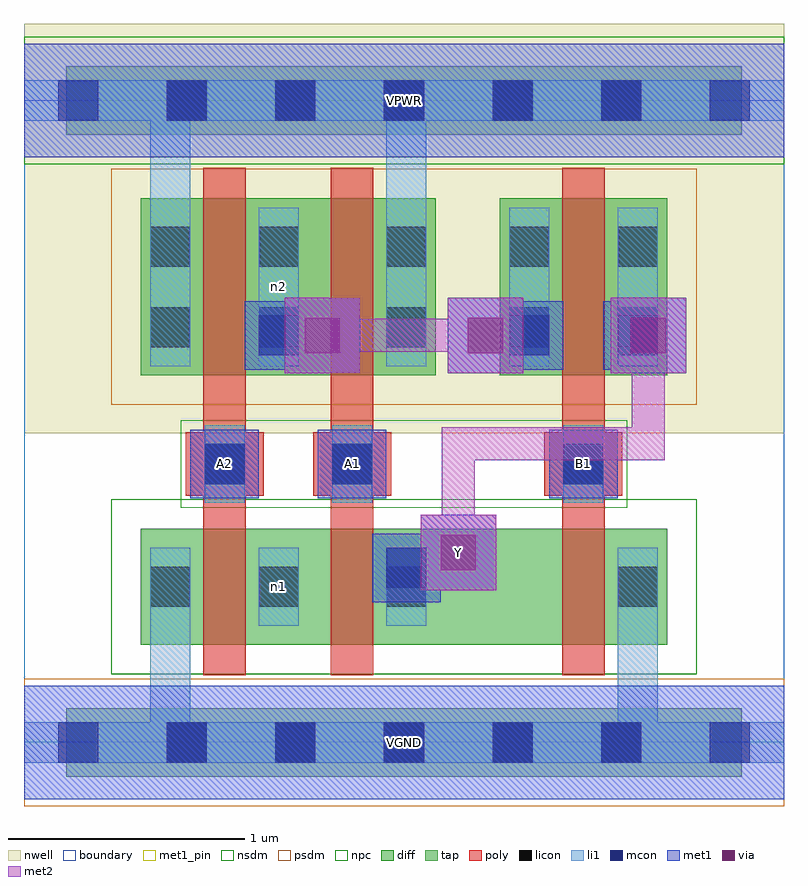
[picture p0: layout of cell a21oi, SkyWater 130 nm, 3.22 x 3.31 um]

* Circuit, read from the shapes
.subckt a21oi A1 A2 B1 VGND VPWR Y n1 n2
XM1 n1 A2 VGND VGND sky130_fd_pr__nfet_01v8 w=0.49 l=0.18
XM2 Y A1 n1 VGND sky130_fd_pr__nfet_01v8 w=0.49 l=0.18
XM3 VGND B1 Y VGND sky130_fd_pr__nfet_01v8 w=0.49 l=0.18
XM4 n2 A2 VPWR VPWR sky130_fd_pr__pfet_01v8 w=0.75 l=0.18
XM5 VPWR A1 n2 VPWR sky130_fd_pr__pfet_01v8 w=0.75 l=0.18
XM6 Y B1 n2 VPWR sky130_fd_pr__pfet_01v8 w=0.75 l=0.18
.ends

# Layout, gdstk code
import gdstk
lib = gdstk.Library(unit=1e-6, precision=1e-09)
def R(c, l, rs):  # rectangles x0, y0, x1, y1
    for r in rs: c.add(gdstk.rectangle(r[:2], r[2:], *l))
def A(c, l, x, y, w, h, nx, ny, dx, dy):  # array of equal rectangles
    R(c, l, [(x+i*dx, y+j*dy, x+i*dx+w, y+j*dy+h) for i in range(nx) for j in range(ny)])
nwell = (64, 20)
diff = (65, 20)
tap = (65, 44)
poly = (66, 20)
licon = (66, 44)
li1 = (67, 20)
mcon = (67, 44)
met1_pin = (68, 16)
met1 = (68, 20)
via = (68, 44)
met2 = (69, 20)
nsdm = (93, 44)
psdm = (94, 20)
npc = (95, 20)
boundary = (235, 4)

a21oi = lib.new_cell('a21oi')
R(a21oi, nwell, [(0,1.31,3.22,3.045)])
R(a21oi, diff, [(0.495,0.415,2.725,0.905), (0.495,1.555,1.745,2.305), (2.015,1.555,2.725,2.305)])
R(a21oi, tap, [(0.18,-0.145,3.04,0.145), (0.18,2.575,3.04,2.865)])
R(a21oi, poly, [(0.76,0.285,0.94,2.435), (1.3,0.285,1.48,2.435), (2.28,0.285,2.46,2.435), (0.685,1.045,1.015,1.315), (1.225,1.045,1.555,1.315), (2.205,1.045,2.535,1.315)])
A(a21oi, licon, 0.605, -0.085, 0.17, 0.17, 5, 2, 0.46, 2.72)
R(a21oi, licon, [(0.535,0.575,0.705,0.745), (0.995,0.575,1.165,0.745), (1.535,0.575,1.705,0.745), (2.515,0.575,2.685,0.745), (0.765,1.095,0.935,1.265), (1.305,1.095,1.475,1.265), (2.285,1.095,2.455,1.265), (0.535,1.675,0.705,1.845), (0.995,1.675,1.165,1.845), (1.535,1.675,1.705,1.845), (2.055,1.675,2.225,1.845), (2.515,1.675,2.685,1.845), (0.535,2.015,0.705,2.185), (0.995,2.015,1.165,2.185), (1.535,2.015,1.705,2.185), (2.055,2.015,2.225,2.185), (2.515,2.015,2.685,2.185)])
R(a21oi, li1, [(0,-0.085,3.22,0.085), (0.535,-0.085,0.705,0.825), (2.515,-0.085,2.685,0.825), (0.535,0.495,0.705,0.825), (0.995,0.495,1.165,0.825), (1.535,0.495,1.705,0.825), (2.515,0.495,2.685,0.825), (0.765,1.015,0.935,1.345), (1.305,1.015,1.475,1.345), (2.285,1.015,2.455,1.345), (0.535,1.595,0.705,2.265), (0.535,1.595,0.705,2.805), (0.995,1.595,1.165,2.265), (1.535,1.595,1.705,2.265), (1.535,1.595,1.705,2.805), (2.055,1.595,2.225,2.265), (2.515,1.595,2.685,2.265), (0,2.635,3.22,2.805)])
A(a21oi, mcon, 0.145, -0.085, 0.17, 0.17, 7, 2, 0.46, 2.72)
R(a21oi, mcon, [(1.535,0.655,1.705,0.825), (0.765,1.095,0.935,1.265), (1.305,1.095,1.475,1.265), (2.285,1.095,2.455,1.265), (0.995,1.64,1.165,1.81), (2.055,1.64,2.225,1.81), (2.515,1.64,2.685,1.81)])
R(a21oi, met1_pin, [(0,-0.24,3.22,0.24), (1.68,0.645,2,0.965), (0.705,1.035,0.995,1.325), (1.245,1.035,1.535,1.325), (2.225,1.035,2.515,1.325), (0,2.48,3.22,2.96)])
A(a21oi, met1, 1.105, 1.565, 0.32, 0.32, 3, 1, 0.69, 0)
R(a21oi, met1, [(0,-0.24,3.22,0.24), (1.475,0.595,1.765,0.885), (1.68,0.645,2,0.965), (1.55,0.67,1.795,0.81), (1.655,0.67,1.795,0.875), (1.655,0.735,1.91,0.875), (0.705,1.035,0.995,1.325), (1.245,1.035,1.535,1.325), (2.225,1.035,2.515,1.325), (0.935,1.58,1.225,1.87), (1.995,1.58,2.285,1.87), (2.455,1.58,2.745,1.87), (1.01,1.655,1.335,1.795), (1.885,1.655,2.21,1.795), (2.53,1.655,2.715,1.795), (0,2.48,3.22,2.96)])
A(a21oi, via, 1.19, 1.65, 0.15, 0.15, 3, 1, 0.69, 0)
R(a21oi, via, [(1.765,0.73,1.915,0.88)])
A(a21oi, met2, 1.105, 1.565, 0.32, 0.32, 3, 1, 0.69, 0)
R(a21oi, met2, [(1.68,0.645,2,0.965), (1.77,0.735,1.91,1.335), (1.77,1.195,2.715,1.335), (2.575,1.195,2.715,1.795), (1.195,1.655,2.025,1.795)])
R(a21oi, nsdm, [(0.37,0.29,2.85,1.03), (0,2.45,3.22,2.99)])
R(a21oi, psdm, [(0,-0.27,3.22,0.27), (0.37,1.43,2.85,2.43)])
R(a21oi, npc, [(0.665,0.995,2.555,1.365)])
R(a21oi, boundary, [(0,0,3.22,2.72)])
a21oi.add(gdstk.Label('n1', (1.08,0.66), layer=67, texttype=5))
a21oi.add(gdstk.Label('n2', (1.08,1.93), layer=67, texttype=5))
a21oi.add(gdstk.Label('A1', (1.39,1.18), layer=68, texttype=5))
a21oi.add(gdstk.Label('A2', (0.85,1.18), layer=68, texttype=5))
a21oi.add(gdstk.Label('B1', (2.37,1.18), layer=68, texttype=5))
a21oi.add(gdstk.Label('Y', (1.84,0.805), layer=68, texttype=5))
a21oi.add(gdstk.Label('VPWR', (1.61,2.72), layer=68, texttype=5))
a21oi.add(gdstk.Label('VGND', (1.61,0), layer=68, texttype=5))
a21oi.add(gdstk.Label('A1', (1.39,1.18), layer=68, texttype=16))
a21oi.add(gdstk.Label('A2', (0.85,1.18), layer=68, texttype=16))
a21oi.add(gdstk.Label('B1', (2.37,1.18), layer=68, texttype=16))
a21oi.add(gdstk.Label('Y', (1.84,0.805), layer=68, texttype=16))
a21oi.add(gdstk.Label('VPWR', (1.61,2.72), layer=68, texttype=16))
a21oi.add(gdstk.Label('VGND', (1.61,0), layer=68, texttype=16))

lib.write_gds('a21oi.gds')
